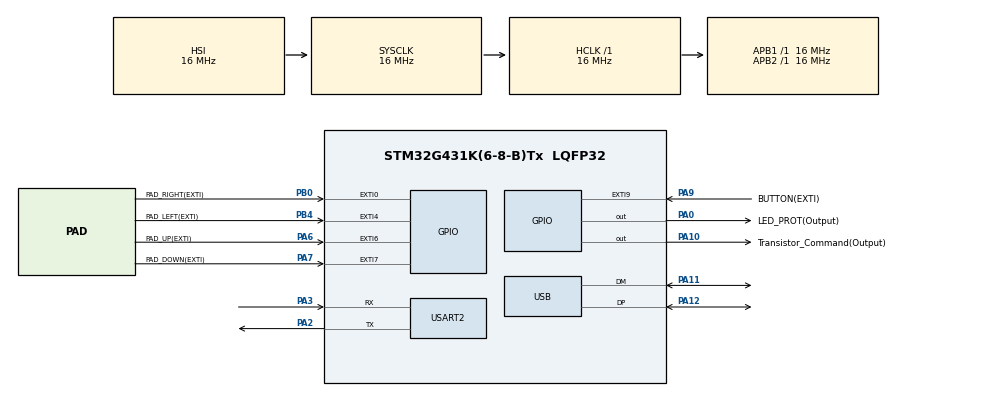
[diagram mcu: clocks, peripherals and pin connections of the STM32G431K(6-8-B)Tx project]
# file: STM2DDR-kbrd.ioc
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Mcu.Family=STM32G4
Mcu.Name=STM32G431K(6-8-B)Tx
Mcu.Package=LQFP32
NVIC.EXTI0_IRQn=true\:0\:0\:false\:false\:true\:true\:true\:true
NVIC.EXTI4_IRQn=true\:0\:0\:false\:false\:true\:true\:true\:true
NVIC.EXTI9_5_IRQn=true\:0\:0\:false\:false\:true\:true\:true\:true
NVIC.PriorityGroup=NVIC_PRIORITYGROUP_4
NVIC.USB_LP_IRQn=true\:0\:0\:false\:false\:true\:false\:true\:true
PA0.GPIO_Label=LED_PROT(Output)
PA0.Signal=GPIO_Output
PA10.GPIO_Label=Transistor_Command(Output)
PA10.Signal=GPIO_Output
PA11.Mode=Device
PA11.Signal=USB_DM
PA12.Mode=Device
PA12.Signal=USB_DP
PA13.Mode=Serial_Wire
PA13.Signal=SYS_JTMS-SWDIO
PA14.Mode=Serial_Wire
PA14.Signal=SYS_JTCK-SWCLK
PA2.Mode=Asynchronous
PA2.Signal=USART2_TX
PA3.Mode=Asynchronous
PA3.Signal=USART2_RX
PA6.GPIO_Label=PAD_UP(EXTI)
PA6.GPIO_ModeDefaultEXTI=GPIO_MODE_IT_RISING_FALLING
PA6.GPIO_PuPd=GPIO_NOPULL
PA6.Signal=GPXTI6
PA7.GPIO_Label=PAD_DOWN(EXTI)
PA7.GPIO_ModeDefaultEXTI=GPIO_MODE_IT_RISING_FALLING
PA7.GPIO_PuPd=GPIO_NOPULL
PA7.Signal=GPXTI7
PA9.GPIO_Label=BUTTON(EXTI)
PA9.GPIO_ModeDefaultEXTI=GPIO_MODE_IT_FALLING
PA9.Signal=GPXTI9
PB0.GPIO_Label=PAD_RIGHT(EXTI)
PB0.GPIO_ModeDefaultEXTI=GPIO_MODE_IT_RISING_FALLING
PB0.GPIO_PuPd=GPIO_NOPULL
PB0.Signal=GPXTI0
PB4.GPIO_Label=PAD_LEFT(EXTI)
PB4.GPIO_ModeDefaultEXTI=GPIO_MODE_IT_RISING_FALLING
PB4.GPIO_PuPd=GPIO_NOPULL
PB4.Signal=GPXTI4
PF0-OSC_IN.Mode=HSE-External-Oscillator
PF0-OSC_IN.Signal=RCC_OSC_IN
PF1-OSC_OUT.Mode=HSE-External-Oscillator
PF1-OSC_OUT.Signal=RCC_OSC_OUT
ProjectManager.HeapSize=0x200
ProjectManager.StackSize=0x400
ProjectManager.TargetToolchain=STM32CubeIDE
RCC.AHBFreq_Value=16000000
RCC.APB1Freq_Value=16000000
RCC.APB1TimFreq_Value=16000000
RCC.APB2Freq_Value=16000000
RCC.APB2TimFreq_Value=16000000
RCC.CortexFreq_Value=16000000
RCC.EXTERNAL_CLOCK_VALUE=12288000
RCC.HCLKFreq_Value=16000000
RCC.HSE_VALUE=8000000
RCC.HSI48_VALUE=48000000
RCC.HSI_VALUE=16000000
RCC.LSE_VALUE=32768
RCC.PLLN=12
RCC.PLLQ=RCC_PLLQ_DIV4
RCC.SYSCLKFreq_VALUE=16000000
RCC.USBFreq_Value=48000000
RCC.VCOOutputFreq_Value=192000000
USART2.VirtualMode-Asynchronous=VM_ASYNC
USB_DEVICE.CLASS_NAME_FS=CUSTOM_HID
USB_DEVICE.USBD_CUSTOM_HID_REPORT_DESC_SIZE=63
USB_DEVICE.VirtualMode=CustomHid
USB_DEVICE.VirtualModeFS=Custom_Hid_FS
VP_SYS_VS_DBSignals.Mode=DisableDeadBatterySignals
VP_USB_DEVICE_VS_USB_DEVICE_CUSTOM_HID_FS.Mode=CUSTOM_HID_FS
board=custom

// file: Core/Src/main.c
/* USER CODE BEGIN Header */
/**
  ******************************************************************************
  * @file           : main.c
  * @brief          : Main program body
  ******************************************************************************
  * @attention
  *
  * Copyright (c) 2026 STMicroelectronics.
  * All rights reserved.
  *
  * This software is licensed under terms that can be found in the LICENSE file
  * in the root directory of this software component.
  * If no LICENSE file comes with this software, it is provided AS-IS.
  *
  ******************************************************************************
  */
/* USER CODE END Header */
#include "main.h"
#include "usb_device.h"

/* USER CODE BEGIN Includes */
#include "usbd_customhid.h"
/* USER CODE END Includes */

/* USER CODE BEGIN PD */
//Définition des codes des touches
#define KEY_UP    0x52
#define KEY_DOWN  0x51
#define KEY_RIGHT 0x4F
#define KEY_LEFT  0x50
/* USER CODE END PD */

UART_HandleTypeDef huart2;

/* USER CODE BEGIN PV */
extern USBD_HandleTypeDef hUsbDeviceFS;	// Canal pour la communication USB
uint8_t keyboardReport[8] = {0};		// Buffer de 8 octets pour le rapport USB à envoyer
volatile uint8_t event_detected = 0;	// Signaler un changement d'état
/* USER CODE END PV */

void SystemClock_Config(void);
static void MX_GPIO_Init(void);
static void MX_USART2_UART_Init(void);

int main(void)
{

  /* MCU Configuration--------------------------------------------------------*/

  /* Reset of all peripherals, Initializes the Flash interface and the Systick. */
  HAL_Init();

  /* Configure the system clock */
  SystemClock_Config();

  /* Initialize all configured peripherals */
  MX_GPIO_Init();
  MX_USART2_UART_Init();
  MX_USB_Device_Init();
  /* USER CODE BEGIN 2 */
  HAL_GPIO_WritePin(GPIOA, Transistor_Command_Pin, GPIO_PIN_RESET);
  HAL_GPIO_WritePin(GPIOA, Transistor_Command_Pin, GPIO_PIN_RESET);
  /* USER CODE END 2 */

  /* Infinite loop */
  while (1)
  {

    /* USER CODE BEGIN 3 */
		if (event_detected){
			HAL_Delay(20);
			for (int i = 2; i < 8; i++) keyboardReport[i] = (int) NULL;
			uint8_t key_index = 2;
			// Vérification indépendante de chaque touche
			if (HAL_GPIO_ReadPin(GPIOA, GPIO_PIN_6) == GPIO_PIN_SET) {
			  keyboardReport[key_index++] = KEY_UP;
			}
			if (HAL_GPIO_ReadPin(GPIOA, GPIO_PIN_7) == GPIO_PIN_SET) {
			  keyboardReport[key_index++] = KEY_DOWN;
			}
			if (HAL_GPIO_ReadPin(GPIOB, GPIO_PIN_0) == GPIO_PIN_SET) {
			  keyboardReport[key_index++] = KEY_RIGHT;
			}
			if (HAL_GPIO_ReadPin(GPIOB, GPIO_PIN_4) == GPIO_PIN_SET) {
			  keyboardReport[key_index++] = KEY_LEFT;
			}
			event_detected = 0;
			if (keyboardReport[2]==(int)NULL) HAL_GPIO_WritePin(LED_PROT_GPIO_Port, LED_PROT_Pin, GPIO_PIN_SET);
			USBD_CUSTOM_HID_SendReport(&hUsbDeviceFS, keyboardReport, 8);
		}
		HAL_Delay(5);
  }
  /* USER CODE END 3 */
}

void SystemClock_Config(void)
{
  RCC_OscInitTypeDef RCC_OscInitStruct = {0};
  RCC_ClkInitTypeDef RCC_ClkInitStruct = {0};

  /** Configure the main internal regulator output voltage
  */
  HAL_PWREx_ControlVoltageScaling(PWR_REGULATOR_VOLTAGE_SCALE1);

  /** Initializes the RCC Oscillators according to the specified parameters
  * in the RCC_OscInitTypeDef structure.
  */
  RCC_OscInitStruct.OscillatorType = RCC_OSCILLATORTYPE_HSI;
  RCC_OscInitStruct.HSIState = RCC_HSI_ON;
  RCC_OscInitStruct.HSICalibrationValue = RCC_HSICALIBRATION_DEFAULT;
  RCC_OscInitStruct.PLL.PLLState = RCC_PLL_ON;
  RCC_OscInitStruct.PLL.PLLSource = RCC_PLLSOURCE_HSI;
  RCC_OscInitStruct.PLL.PLLM = RCC_PLLM_DIV1;
  RCC_OscInitStruct.PLL.PLLN = 12;
  RCC_OscInitStruct.PLL.PLLP = RCC_PLLP_DIV2;
  RCC_OscInitStruct.PLL.PLLQ = RCC_PLLQ_DIV4;
  RCC_OscInitStruct.PLL.PLLR = RCC_PLLR_DIV2;
  if (HAL_RCC_OscConfig(&RCC_OscInitStruct) != HAL_OK)
  {
    Error_Handler();
  }

  /** Initializes the CPU, AHB and APB buses clocks
  */
  RCC_ClkInitStruct.ClockType = RCC_CLOCKTYPE_HCLK|RCC_CLOCKTYPE_SYSCLK
                              |RCC_CLOCKTYPE_PCLK1|RCC_CLOCKTYPE_PCLK2;
  RCC_ClkInitStruct.SYSCLKSource = RCC_SYSCLKSOURCE_HSI;
  RCC_ClkInitStruct.AHBCLKDivider = RCC_SYSCLK_DIV1;
  RCC_ClkInitStruct.APB1CLKDivider = RCC_HCLK_DIV1;
  RCC_ClkInitStruct.APB2CLKDivider = RCC_HCLK_DIV1;

  if (HAL_RCC_ClockConfig(&RCC_ClkInitStruct, FLASH_LATENCY_0) != HAL_OK)
  {
    Error_Handler();
  }
}

static void MX_USART2_UART_Init(void)
{

  huart2.Instance = USART2;
  huart2.Init.BaudRate = 115200;
  huart2.Init.WordLength = UART_WORDLENGTH_8B;
  huart2.Init.StopBits = UART_STOPBITS_1;
  huart2.Init.Parity = UART_PARITY_NONE;
  huart2.Init.Mode = UART_MODE_TX_RX;
  huart2.Init.HwFlowCtl = UART_HWCONTROL_NONE;
  huart2.Init.OverSampling = UART_OVERSAMPLING_16;
  huart2.Init.OneBitSampling = UART_ONE_BIT_SAMPLE_DISABLE;
  huart2.Init.ClockPrescaler = UART_PRESCALER_DIV1;
  huart2.AdvancedInit.AdvFeatureInit = UART_ADVFEATURE_NO_INIT;
  if (HAL_UART_Init(&huart2) != HAL_OK)
  {
    Error_Handler();
  }
  if (HAL_UARTEx_SetTxFifoThreshold(&huart2, UART_TXFIFO_THRESHOLD_1_8) != HAL_OK)
  {
    Error_Handler();
  }
  if (HAL_UARTEx_SetRxFifoThreshold(&huart2, UART_RXFIFO_THRESHOLD_1_8) != HAL_OK)
  {
    Error_Handler();
  }
  if (HAL_UARTEx_DisableFifoMode(&huart2) != HAL_OK)
  {
    Error_Handler();
  }

}

static void MX_GPIO_Init(void)
{
  GPIO_InitTypeDef GPIO_InitStruct = {0};

  /* GPIO Ports Clock Enable */
  __HAL_RCC_GPIOF_CLK_ENABLE();
  __HAL_RCC_GPIOA_CLK_ENABLE();
  __HAL_RCC_GPIOB_CLK_ENABLE();

  /*Configure GPIO pin Output Level */
  HAL_GPIO_WritePin(GPIOA, LED_PROT_Pin|Transistor_Command_Pin, GPIO_PIN_RESET);

  /*Configure GPIO pins : LED_PROT_Pin Transistor_Command_Pin */
  GPIO_InitStruct.Pin = LED_PROT_Pin|Transistor_Command_Pin;
  GPIO_InitStruct.Mode = GPIO_MODE_OUTPUT_PP;
  GPIO_InitStruct.Pull = GPIO_NOPULL;
  GPIO_InitStruct.Speed = GPIO_SPEED_FREQ_LOW;
  HAL_GPIO_Init(GPIOA, &GPIO_InitStruct);

  /*Configure GPIO pins : PAD_UP_Pin PAD_DOWN_Pin */
  GPIO_InitStruct.Pin = PAD_UP_Pin|PAD_DOWN_Pin;
  GPIO_InitStruct.Mode = GPIO_MODE_IT_RISING_FALLING;
  GPIO_InitStruct.Pull = GPIO_NOPULL;
  HAL_GPIO_Init(GPIOA, &GPIO_InitStruct);

  /*Configure GPIO pins : PAD_RIGHT_Pin PAD_LEFT_Pin */
  GPIO_InitStruct.Pin = PAD_RIGHT_Pin|PAD_LEFT_Pin;
  GPIO_InitStruct.Mode = GPIO_MODE_IT_RISING_FALLING;
  GPIO_InitStruct.Pull = GPIO_NOPULL;
  HAL_GPIO_Init(GPIOB, &GPIO_InitStruct);

  /*Configure GPIO pin : BUTTON_Pin */
  GPIO_InitStruct.Pin = BUTTON_Pin;
  GPIO_InitStruct.Mode = GPIO_MODE_IT_FALLING;
  GPIO_InitStruct.Pull = GPIO_NOPULL;
  HAL_GPIO_Init(BUTTON_GPIO_Port, &GPIO_InitStruct);

  /* EXTI interrupt init*/
  HAL_NVIC_SetPriority(EXTI0_IRQn, 0, 0);
  HAL_NVIC_EnableIRQ(EXTI0_IRQn);

  HAL_NVIC_SetPriority(EXTI4_IRQn, 0, 0);
  HAL_NVIC_EnableIRQ(EXTI4_IRQn);

  HAL_NVIC_SetPriority(EXTI9_5_IRQn, 0, 0);
  HAL_NVIC_EnableIRQ(EXTI9_5_IRQn);

}

/* USER CODE BEGIN 4 */
void HAL_GPIO_EXTI_Callback(uint16_t GPIO_Pin){
    if (GPIO_Pin == GPIO_PIN_6 || GPIO_Pin == GPIO_PIN_7 || GPIO_Pin == GPIO_PIN_0 || GPIO_Pin == GPIO_PIN_4){
        event_detected = 1;
        HAL_GPIO_WritePin(LED_PROT_GPIO_Port, LED_PROT_Pin, GPIO_PIN_RESET);
    }
    else if (GPIO_Pin == GPIO_PIN_9){
		HAL_GPIO_TogglePin(LED_PROT_GPIO_Port, LED_PROT_Pin);
		HAL_GPIO_TogglePin(Transistor_Command_GPIO_Port, Transistor_Command_Pin);
    }
}
/* USER CODE END 4 */

void Error_Handler(void)
{
  __disable_irq();
  while (1)
  {
  }
}
